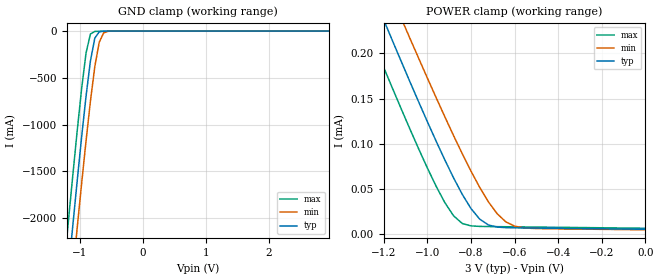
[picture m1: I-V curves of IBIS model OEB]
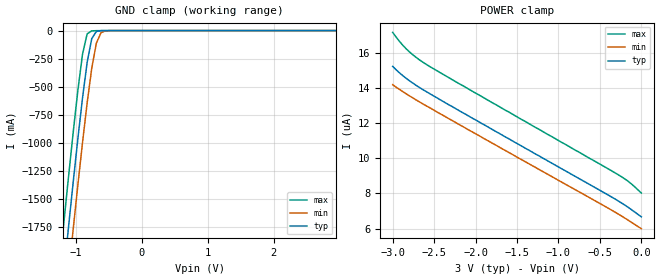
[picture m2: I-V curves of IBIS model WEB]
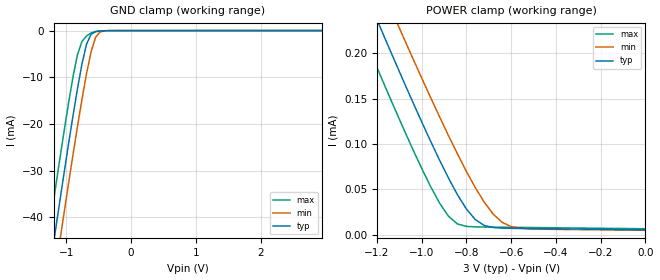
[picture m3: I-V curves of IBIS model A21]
| IBIS file s29gl512p.ibs created by s2ibis3 verion 1.1
| North Carolina State University, ERL, 2006
[IBIS ver] 3.2
[File name] s29gl512p.ibs
[File Rev] 1.0
[Date]  07/03/07
[Source] SPANSION PENANG DESIGN VERIFICATION TEAM
[Notes]  Generated IBIS models from SPICE simulations.
[Disclaimer] THE MODEL LIBRARIES ARE PROVIDED AS IS.
[Copyright] (C) COPYRIGHT 2007
|   Component S29GL512P in LAA064 package
[Component] S29GL512P
[Manufacturer] SPANSION LLC
[Package] |LAA064
| variable   typ   min   max
R_pkg   0.0   0.0   0.0
L_pkg   0.0H   0.0H   0.0H
C_pkg   0.0F   0.0F   0.0F
[Pin]  signal_name   model_name   R_pin   L_pin   C_pin
A1   RFU   NC
A2   A3   A3   166.19m   3.0675nH   1.474pF
A3   A7   A7   155.27m   2.8913nH   1.3825pF
A4   RY/BY#   RDY   123.23m   2.1821nH   1.2183pF
A5   WE#   WEB   160.59m   3.0398nH   1.3593pF
A6   A9   A9   126.85m   2.2733nH   1.1954pF
A7   A13   A13   119.67m   2.1357nH   1.2259pF
A8   RFU   NC
B1   RFU   NC
B2   A4   A4   133.7m   2.5675nH   1.1851pF
B3   A17   A17   147.8m   2.8195nH   1.314pF
B4   WP#/ACC   WPESD_ACC   128.89m   2.4409nH   1.2276pF
B5   RESET#   RESETB   157.79m   3.5586nH   1.4478pF
B6   A8   A8   141.53m   2.5892nH   1.1768pF
B7   A12   A12   139.55m   2.7609nH   1.2487pF
B8   A22   A22   142.36m   2.7301nH   1.1702pF
C1   RFU   NC
C2   A2   A2   159.17m   3.7407nH   1.4027pF
C3   A6   A6   154.49m   3.6128nH   1.4081pF
C4   A18   A18   129.92m   3.1277nH   1.3095pF
C5   A21   A21   158.08m   3.8093nH   1.3918pF
C6   A10   A10   121.09m   2.7414nH   1.2353pF
C7   A14   A14   129.49m   2.7845nH   1.2535pF
C8   A23   A23   162.79m   3.7344nH   1.3871pF
D1   RFU   NC   139.91m   3.7197nH   1.3339pF
D2   A1   A1   149.5m   3.8241nH   1.3712pF
D3   A5   A5   150.2m   3.7868nH   1.3858pF
D4   A20   A20   155.41m   4.0121nH   1.4108pF
D5   A19   A19   142.27m   3.3952nH   1.3387pF
D6   A11   A11   127.9m   3.1379nH   1.2171pF
D7   A15   A15   129.27m   3.1954nH   1.2429pF
D8   VIO   POWER   31.966m   1.186nH   6.2044pF
E1   RFU   NC
E2   A0   A0   122.13m   2.9593nH   1.2165pF
E3   DQ0   DQ0   118.36m   2.8201nH   1.1365pF
E4   DQ2   DQ2   132.09m   3.1667nH   1.2369pF
E5   DQ5   DQ5   116.04m   2.7496nH   1.1198pF
E6   DQ7   DQ7   136.02m   3.23nH   1.2468pF
E7   A16   A16   116.13m   2.7205nH   1.1804pF
E8   VSS   GND   14.526m   0.34828nH  42.777pF
F1   VIO   POWER   31.966m   1.186nH   6.2044pF
F2   CE#   CEB   112.95m   2.4595nH   1.1939pF
F3   DQ8   DQ8   112.4m   2.5146nH   1.1444pF
F4   DQ10   DQ10   116.03m   2.472nH   1.1673pF
F5   DQ12   DQ12   114.35m   2.4136nH   1.1431pF
F6   DQ14   DQ14   111.85m   2.3518nH   1.0741pF
F7   BYTE#   BYTEB   113.93m   2.4734nH   1.1414pF
F8   A24   A24   143.02m   3.2448nH   1.3572pF
G1   RFU   NC
G2   OE#   OEB   131.25m   2.4724nH   1.2562pF
G3   DQ9   DQ9   137.59m   2.8453nH   1.31pF
G4   DQ11   DQ11   172.29m   3.3623nH   1.4492pF
G5   VCC   POWER   60.639m   1.6843nH   2.6004pF
G6   DQ13   DQ13   156.93m   3.1167nH   1.3786pF
G7   DQ15/A-1   DQ15   167.23m   3.2384nH   1.4392pF
G8   RFU   NC
H1   RFU   NC
H2   VSS   GND   14.526m   0.34828nH  42.777pF
H3   DQ1   DQ1   198.4m   4.5633nH   1.6647pF
H4   DQ3   DQ3   124.25m   2.2884nH   1.1364pF
H5   DQ4   DQ4   74.761m   1.0601nH   0.75498pF
H6   DQ6   DQ6   171.06m   3.7006nH   1.4931pF
H7   VSS   GND   14.526m   0.34828nH  42.777pF
H8   RFU   NC
| Models and submodels in the file (48): BYTEB (Input), OEB (Input), CEB (Input), WPESD_ACC (Input), RESETB (Input), WEB (Input), A24 (Input), A23 (Input), A22 (Input), A21 (Input), A20 (Input), A19 (Input), A18 (Input), A17 (Input), A16 (Input), A15 (Input), A14 (Input), A13 (Input), A12 (Input), A11 (Input), A10 (Input), A9 (Input), A8 (Input), A7 (Input), A6 (Input), A5 (Input), A4 (Input), A3 (Input), A2 (Input), A1 (Input), A0 (Input), DQ15 (I/O), DQ14 (I/O), DQ13 (I/O), DQ12 (I/O), DQ11 (I/O), DQ10 (I/O), DQ9 (I/O), DQ8 (I/O), DQ7 (I/O), DQ6 (I/O), DQ5 (I/O), DQ4 (I/O), DQ3 (I/O), DQ2 (I/O), DQ1 (I/O), DQ0 (I/O), RDY (Open_sink)
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|   Model OEB
[Model]  OEB
Model_type Input
Vinl =   0.9000V
Vinh =   2.1000V
C_comp   2.0000pF   2.0000pF   2.0000pF
[Temperature Range]   25.0000   85.0000   -40.0000
[Pullup Reference]   3.0000V   2.7000V   3.6000V
[Pulldown Reference]   0.0V   0.0V   0.0V
[POWER Clamp Reference]   3.0000V   2.7000V   3.6000V
[GND Clamp Reference]   0.0V   0.0V   0.0V
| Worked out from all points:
|   GND clamp passes 1 mA (typ) near -0.62 V on its own axis
|   POWER clamp passes 1 mA (typ) near -2.48 V on its own axis
[GND_clamp]
|Voltage   I(typ)   I(min)   I(max)
-3V       -16.08A    -16.55A    -15.59A
-1.25V    -3.077A    -3.584A    -2.537A
-1.18V    -2.578A    -3.086A    -2.038A
-1.11V    -2.086A    -2.593A    -1.547A
-1.04V    -1.604A    -2.108A    -1.07A
-900mV    -700.7mA   -1.179A    -237.2mA
-830mV    -320.9mA   -751.7mA   -31.49mA
-760mV    -75.17mA   -379.4mA   -3.651mA
-690mV    -7.922mA   -119.2mA   -1.417mA
-620mV    -1.035mA   -19.26mA   -588.3uA
-550mV    -276.6uA   -2.335mA   -202.1uA
2.95V     5.572uA    5.788uA    5.15uA
[POWER_clamp]
|Voltage   I(typ)   I(min)   I(max)
-3V       1.316mA    1.341mA    1.27mA
-1.28V    283.2uA    329.3uA    230.8uA
-1.2V     236.9uA    283.9uA    184.3uA
-1.16V    213.9uA    261.3uA    161.4uA
-1.12V    191.2uA    238.9uA    138.7uA
-1.08V    168.6uA    216.6uA    116.4uA
-960mV    103.1uA    151.2uA    53.26uA
-880mV    62.55uA    109.2uA    20.58uA
-760mV    16.85uA    51.99uA    8.89uA
-640mV    7.518uA    13.85uA    8.504uA
-520mV    7.055uA    6.7uA      8.192uA
0V        5.702uA    5.138uA    6.84uA
|   Model WEB
[Model]  WEB
Model_type Input
Vinl =   0.9000V
Vinh =   2.1000V
C_comp   2.0000pF   2.0000pF   2.0000pF
[Temperature Range]   25.0000   85.0000   -40.0000
[Pullup Reference]   3.0000V   2.7000V   3.6000V
[Pulldown Reference]   0.0V   0.0V   0.0V
[POWER Clamp Reference]   3.0000V   2.7000V   3.6000V
[GND Clamp Reference]   0.0V   0.0V   0.0V
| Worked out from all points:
|   GND clamp passes 1 mA (typ) near -0.62 V on its own axis
[GND_clamp]
|Voltage   I(typ)   I(min)   I(max)
-3V       -13.17A    -13.57A    -12.76A
-1.25V    -2.545A    -2.965A    -2.098A
-1.18V    -2.137A    -2.558A    -1.689A
-1.11V    -1.734A    -2.155A    -1.287A
-1.04V    -1.34A     -1.758A    -896.9mA
-900mV    -598mA     -996.1mA   -208.9mA
-830mV    -282.5mA   -644.1mA   -28.98mA
-760mV    -70.59mA   -334.4mA   -2.402mA
-690mV    -7.515mA   -111mA     -739.8uA
-620mV    -810.9uA   -18.88mA   -301.3uA
-550mV    -171.7uA   -2.283mA   -104.3uA
2.95V     6.519uA    6.751uA    6.321uA
[POWER_clamp]
|Voltage   I(typ)   I(min)   I(max)
-3V       15.22uA    14.18uA    17.15uA
-2.92V    14.86uA    13.92uA    16.65uA
-2.84V    14.55uA    13.67uA    16.23uA
-2.76V    14.28uA    13.44uA    15.89uA
-2.64V    13.91uA    13.1uA     15.47uA
-2.2V     12.71uA    11.92uA    14.24uA
-280mV    7.581uA    6.837uA    9.069uA
-160mV    7.218uA    6.486uA    8.696uA
0V        6.676uA    6.002uA    8.028uA
|   Model A21
[Model]  A21
Model_type Input
Vinl =   0.9000V
Vinh =   2.1000V
C_comp   2.0000pF   2.0000pF   2.0000pF
[Temperature Range]   25.0000   85.0000   -40.0000
[Pullup Reference]   3.0000V   2.7000V   3.6000V
[Pulldown Reference]   0.0V   0.0V   0.0V
[POWER Clamp Reference]   3.0000V   2.7000V   3.6000V
[GND Clamp Reference]   0.0V   0.0V   0.0V
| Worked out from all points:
|   GND clamp passes 1 mA (typ) near -0.63 V on its own axis
|   POWER clamp passes 1 mA (typ) near -2.48 V on its own axis
[GND_clamp]
|Voltage   I(typ)   I(min)   I(max)
-3V       -219.9mA   -228.1mA   -211.2mA
-1.32V    -56.91mA   -65.48mA   -47.81mA
-1.25V    -50.29mA   -58.87mA   -41.19mA
-1.18V    -43.72mA   -52.3mA    -34.64mA
-1.11V    -37.21mA   -45.78mA   -28.17mA
-1.04V    -30.78mA   -39.32mA   -21.82mA
-830mV    -12.44mA   -20.54mA   -5.14mA
-690mV    -2.902mA   -9.222mA   -1.141mA
-620mV    -798.9uA   -4.551mA   -504uA
-550mV    -245.4uA   -1.426mA   -180.7uA
-410mV    -32.07uA   -60.5uA    -19.22uA
2.95V     5.571uA    5.787uA    5.15uA
[POWER_clamp]
|Voltage   I(typ)   I(min)   I(max)
-3V       1.316mA    1.341mA    1.27mA
-1.28V    283.2uA    329.3uA    230.8uA
-1.2V     236.9uA    283.9uA    184.3uA
-1.16V    213.9uA    261.3uA    161.4uA
-1.12V    191.2uA    238.9uA    138.7uA
-1.08V    168.6uA    216.6uA    116.4uA
-960mV    103.1uA    151.2uA    53.26uA
-880mV    62.54uA    109.2uA    20.58uA
-760mV    16.85uA    51.99uA    8.889uA
-640mV    7.518uA    13.85uA    8.504uA
-520mV    7.055uA    6.7uA      8.192uA
0V        5.701uA    5.137uA    6.84uA
